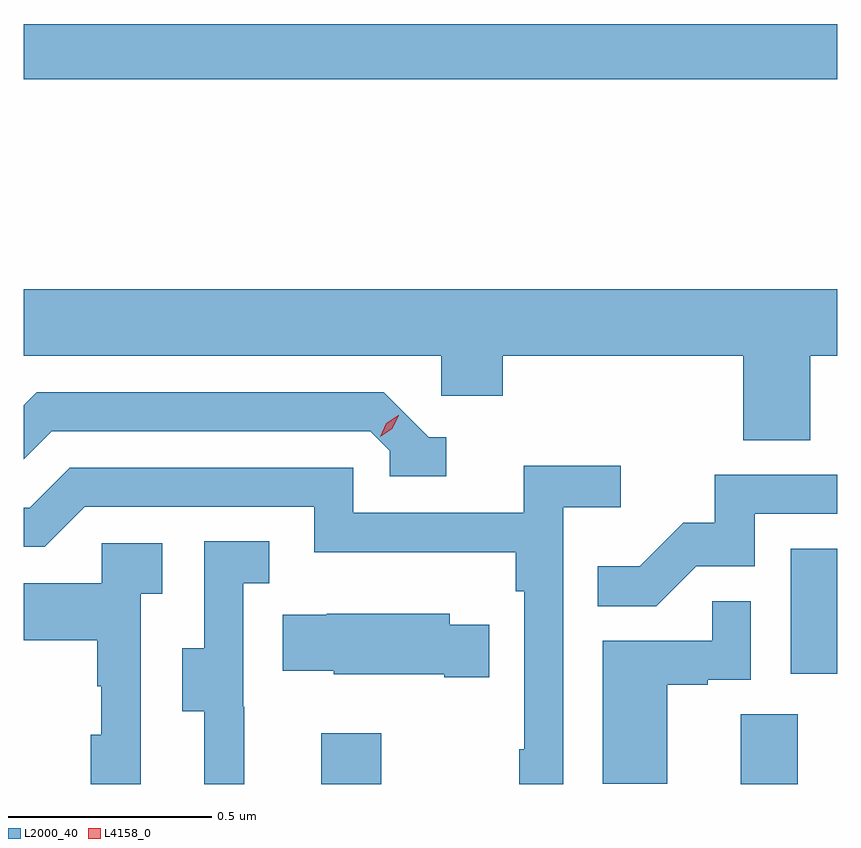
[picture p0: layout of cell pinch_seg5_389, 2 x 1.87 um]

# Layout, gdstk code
import gdstk
lib = gdstk.Library(unit=1e-6, precision=1e-09)
def R(c, l, rs):  # rectangles x0, y0, x1, y1
    for r in rs: c.add(gdstk.rectangle(r[:2], r[2:], *l))
def P(c, l, *ps):  # polygons
    for p in ps: c.add(gdstk.Polygon(p, *l))
L2000_40 = (2000, 40)
L4158_0 = (4158, 0)

pinch_seg5_389 = lib.new_cell('pinch_seg5_389')
R(pinch_seg5_389, L2000_40, [(1006.031,891.671,1006.179,891.796), (1007.063,891.671,1007.203,891.842), (1007.186,891.942,1007.3,892.249), (1005.3,893.404,1007.3,893.54)])
P(pinch_seg5_389, L2000_40, [(1007.234,892.724),(1007.3,892.724),(1007.3,892.888),(1005.3,892.888),(1005.3,892.724),(1006.326,892.724),(1006.326,892.626),(1006.478,892.626),(1006.478,892.724),(1007.069,892.724),(1007.069,892.516),(1007.234,892.516)],
  [(1006.339,892.524),(1006.296,892.524),(1006.185,892.635),(1005.332,892.635),(1005.3,892.603),(1005.3,892.47),(1005.369,892.539),(1006.152,892.539),(1006.2,892.491),(1006.2,892.428),(1006.339,892.428)],
  [(1006.626,892.352),(1006.768,892.352),(1006.768,892.454),(1006.529,892.454),(1006.529,892.338),(1006.11,892.338),(1006.11,892.449),(1005.413,892.449),(1005.314,892.35),(1005.3,892.35),(1005.3,892.254),(1005.351,892.254),(1005.45,892.353),(1006.014,892.353),(1006.014,892.241),(1006.51,892.241),(1006.51,892.145),(1006.53,892.145),(1006.53,891.757),(1006.518,891.757),(1006.518,891.671),(1006.626,891.671)],
  [(1006.953,892.206),(1007.097,892.206),(1007.097,892.335),(1007.3,892.335),(1007.3,892.431),(1006.999,892.431),(1006.999,892.314),(1006.922,892.314),(1006.815,892.207),(1006.711,892.207),(1006.711,892.108),(1006.855,892.108)],
  [(1005.842,891.861),(1005.84,891.861),(1005.84,892.165),(1005.904,892.165),(1005.904,892.268),(1005.744,892.268),(1005.744,892.005),(1005.689,892.005),(1005.689,891.85),(1005.743,891.85),(1005.743,891.671),(1005.842,891.671)],
  [(1005.588,892.139),(1005.64,892.139),(1005.64,892.263),(1005.492,892.263),(1005.492,892.165),(1005.3,892.165),(1005.3,892.025),(1005.48,892.025),(1005.48,891.911),(1005.49,891.911),(1005.49,891.792),(1005.464,891.792),(1005.464,891.671),(1005.588,891.671)],
  [(1006.882,891.915),(1006.982,891.915),(1006.982,891.927),(1007.088,891.927),(1007.088,892.121),(1006.993,892.121),(1006.993,892.023),(1006.724,892.023),(1006.724,891.672),(1006.882,891.672)],
  [(1006.445,892.063),(1006.347,892.063),(1006.347,892.09),(1006.045,892.09),(1006.045,892.087),(1005.937,892.087),(1005.937,891.95),(1006.062,891.95),(1006.062,891.941),(1006.334,891.941),(1006.334,891.934),(1006.445,891.934)])
P(pinch_seg5_389, L4158_0, [(1006.176,892.525),(1006.176,892.525),(1006.191,892.558),(1006.221,892.578),(1006.222,892.578),(1006.222,892.578),(1006.206,892.545),(1006.176,892.525)])

lib.write_gds('pinch_seg5_389.gds')
